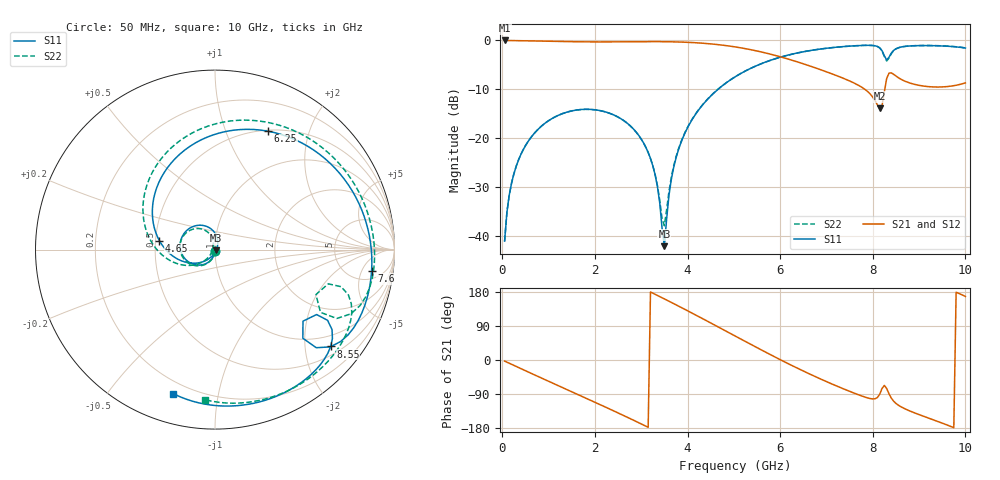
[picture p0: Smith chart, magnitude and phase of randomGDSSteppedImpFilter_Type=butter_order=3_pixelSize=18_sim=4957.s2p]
! freq	dB(S11)	phase(S11)	dB(S12)	phase(S12)
!  dB(S21)	phase(S21)	dB(S22)	phase(S22)
!S-par simulation data
#  GHz  S  DB  R 50
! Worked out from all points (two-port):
!   200 points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, 50 MHz to 10 GHz, reference 50 ohm
!   highest |S21| = -0.01 dB at 50 MHz (marker M1); lowest = -13.9 dB at 8.15 GHz (marker M2)
!   |S21| within 3 dB of the highest: start of sweep to 5.87 GHz
!   lowest |S11| = -42.1 dB at 3.5 GHz (marker M3), VSWR 1.02, Z = 50.6 - j0.472 ohm
!   |S11| at or under -10 dB: start of sweep to 4.66 GHz
!   |S22| runs from -41.1 to -1.0 dB; largest |S21 - S12| = 0
!   S11 on the Smith chart (normalised r, x): 50 MHz: 1.00, -0.02; 4.65 GHz: 0.53, +0.06; 6.25 GHz: 0.51, +1.42; 7.6 GHz: 7, -8; 8.55 GHz: 0.70, -2.59; 10 GHz: 0.14, -0.74
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0.05  -41.10 -91.2  -0.01 -2.9  -0.01 -2.9  -41.10 -91.0
0.2  -29.22 -101.3  -0.02 -11.4  -0.02 -11.4  -29.22 -100.7
0.5  -21.56 -119.4  -0.07 -28.3  -0.07 -28.3  -21.55 -117.8
1.15  -15.60 -157.1  -0.20 -64.5  -0.20 -64.5  -15.60 -153.4
1.75  -14.11 168.5  -0.29 -97.7  -0.29 -97.7  -14.12 174.8
2.9  -18.88 99.3  -0.26 -162.8  -0.26 -162.8  -18.90 115.0
3.2  -24.17 77.8  -0.25 179.5  -0.25 179.5  -24.17 103.2
3.4  -33.29 52.4  -0.25 167.4  -0.25 167.4  -32.75 112.3
3.5  -42.13 -36.5  -0.26 161.2  -0.26 161.2  -37.95 176.3
3.6  -31.68 -105.0  -0.27 155.1  -0.27 155.1  -30.85 -136.5
3.8  -22.51 -128.4  -0.32 142.6  -0.32 142.6  -22.33 -132.5
4.65  -10.08 170.9  -0.85 88.0  -0.85 88.0  -10.05 -178.0
5.05  -7.33 143.6  -1.36 61.9  -1.36 61.9  -7.32 157.3
5.65  -4.55 103.6  -2.48 23.0  -2.48 23.0  -4.56 119.8
6.25  -2.82 65.9  -4.03 -14.3  -4.03 -14.3  -2.83 83.1
6.7  -1.99 39.6  -5.42 -40.5  -5.42 -40.5  -2.00 57.0
7.6  -1.10 -7.8  -8.74 -87.5  -8.74 -87.5  -1.10 8.6
8.15  -1.51 -40.2  -13.92 -90.2  -13.92 -90.2  -1.54 -25.3
8.35  -3.45 -32.6  -6.70 -89.1  -6.70 -89.1  -3.62 -16.8
8.55  -1.51 -39.9  -7.62 -119.1  -7.62 -119.1  -1.53 -24.7
9.25  -1.06 -71.7  -9.50 -155.3  -9.50 -155.3  -1.04 -58.1
10  -1.56 -106.1  -8.70 167.7  -8.70 167.7  -1.53 -93.8
